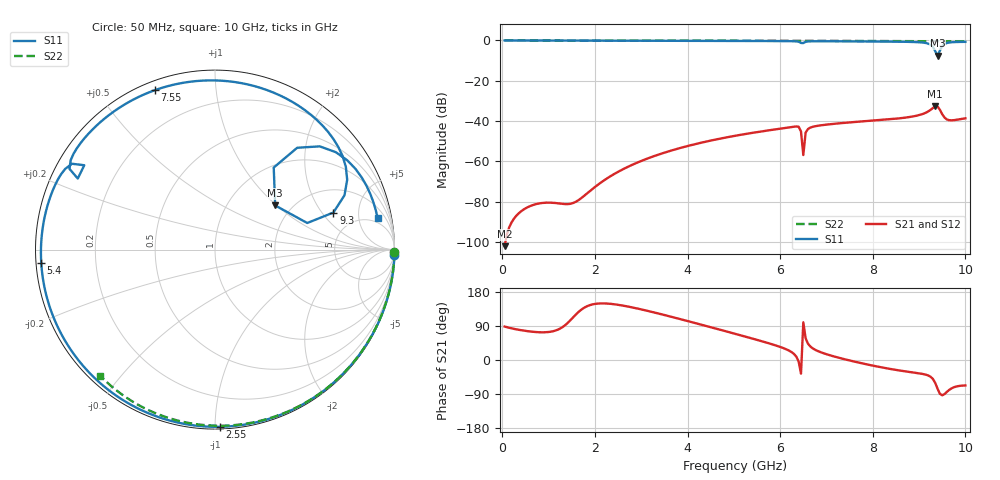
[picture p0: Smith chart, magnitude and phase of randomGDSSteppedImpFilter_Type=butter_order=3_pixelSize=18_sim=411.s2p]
! freq	dB(S11)	phase(S11)	dB(S12)	phase(S12)
!  dB(S21)	phase(S21)	dB(S22)	phase(S22)
!S-par simulation data
#  GHz  S  DB  R 50
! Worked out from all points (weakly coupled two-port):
!   200 points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, 50 MHz to 10 GHz, reference 50 ohm
!   highest |S21| = -32.71 dB at 9.35 GHz (marker M1); lowest = -102.0 dB at 50 MHz (marker M2)
!   lowest |S11| = -7.6 dB at 9.4 GHz (marker M3), VSWR 2.42, Z = 82.3 + j49 ohm
!   |S11| at or under -10 dB: nowhere
!   |S22| runs from -0.4 to 0.0 dB; largest |S21 - S12| = 0
!   S11 on the Smith chart (normalised r, x): 50 MHz: 0, -62; 2.55 GHz: 0.01, -1.03; 5.4 GHz: 0.01, -0.04; 7.55 GHz: 0.04, +0.69; 9.3 GHz: 3.29, +2.60; 10 GHz: 3.66, +8.79
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0.05  -0.00 -1.8  -102.05 88.2  -102.05 88.2  -0.00 -0.8
1.55  -0.07 -55.4  -80.44 115.2  -80.44 115.2  -0.03 -23.5
1.75  -0.08 -62.2  -77.41 136.6  -77.41 136.6  -0.03 -26.4
2.55  -0.11 -88.5  -64.55 144.7  -64.55 144.7  -0.05 -38.2
3.4  -0.14 -115.1  -56.41 121.8  -56.41 121.8  -0.07 -50.3
5.05  -0.23 -164.8  -47.20 68.4  -47.20 68.4  -0.11 -72.8
5.4  -0.26 -175.6  -45.84 56.6  -45.84 56.6  -0.12 -77.3
6.4  -0.64 149.0  -42.80 -4.2  -42.80 -4.2  -0.17 -90.0
6.45  -1.24 147.2  -45.15 -36.1  -45.15 -36.1  -0.17 -90.7
6.5  -1.30 152.6  -56.85 99.5  -56.85 99.5  -0.17 -91.2
6.55  -0.66 151.0  -45.69 57.3  -45.69 57.3  -0.18 -91.9
6.7  -0.40 143.7  -42.86 31.0  -42.86 31.0  -0.18 -93.7
7.55  -0.45 110.7  -40.56 -2.7  -40.56 -2.7  -0.23 -104.0
8.35  -0.56 76.5  -39.12 -23.0  -39.12 -23.0  -0.29 -113.4
8.95  -0.82 46.1  -37.31 -34.3  -37.31 -34.3  -0.34 -120.3
9.3  -3.21 17.4  -33.50 -50.3  -33.50 -50.3  -0.37 -124.3
9.35  -5.44 16.1  -32.71 -60.8  -32.71 -60.8  -0.38 -124.9
9.4  -7.62 36.3  -32.81 -76.1  -32.81 -76.1  -0.38 -125.5
9.5  -2.75 51.1  -36.60 -93.2  -36.60 -93.2  -0.39 -126.6
9.55  -1.73 44.6  -38.27 -89.8  -38.27 -89.8  -0.40 -127.2
9.7  -0.89 29.9  -39.61 -74.9  -39.61 -74.9  -0.41 -128.9
10  -0.70 11.1  -38.62 -67.2  -38.62 -67.2  -0.45 -132.3
